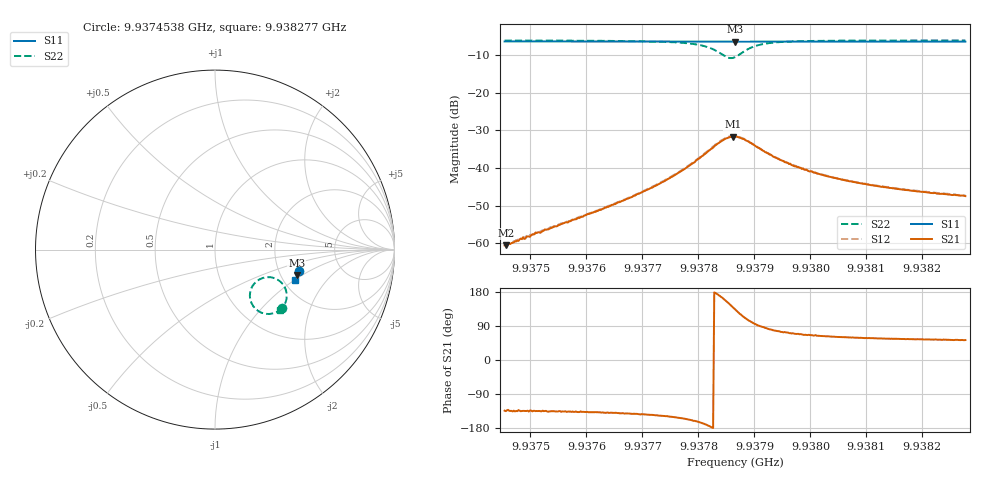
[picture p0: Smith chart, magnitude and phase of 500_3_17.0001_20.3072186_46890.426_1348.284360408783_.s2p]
#  HZ  S  RI  R  50.00
! Rohde & Schwarz Vector Network Analyzer
! Rohde-Schwarz,ZNB20-2Port,1311601062101988,3.16
! Created: UTC 3/20/2024, 11:14:28 PM
! freq[Hz]  re:S11  im:S11  re:S21  im:S21  re:S12  im:S12  re:S22  im:S22
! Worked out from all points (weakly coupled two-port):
!   401 points, 9.9374538 GHz to 9.938277 GHz, reference 50 ohm
!   highest |S21| = -31.64 dB at 9.9378613 GHz (marker M1); lowest = -60.6 dB at 9.9374558 GHz (marker M2)
!   lowest |S11| = -6.4 dB at 9.9378654 GHz (marker M3), VSWR 2.83, Z = 122 - j45.4 ohm
!   |S11| at or under -10 dB: nowhere
!   |S22| runs from -10.8 to -6.1 dB; largest |S21 - S12| = 0.0011
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9.93745378e9  0.4682 -0.1185  -0.000644 -0.000674  -0.000656 -0.000631  0.3738 -0.3271
9.93745584e9  0.4681 -0.1187  -0.000658 -0.00066  -0.000687 -0.000673  0.3737 -0.3273
9.93750935e9  0.4668 -0.1221  -0.00098 -0.000982  -0.000978 -0.000966  0.3686 -0.3317
9.93759168e9  0.465 -0.1279  -0.00164 -0.00152  -0.0017 -0.00151  0.3581 -0.3393
9.93767194e9  0.463 -0.1332  -0.00303 -0.00243  -0.00303 -0.00244  0.3424 -0.3483
9.93772957e9  0.4614 -0.1372  -0.00514 -0.00336  -0.00527 -0.00339  0.3215 -0.3557
9.93777691e9  0.4599 -0.1403  -0.009 -0.0041  -0.00924 -0.004  0.2873 -0.3581
9.93781395e9  0.4584 -0.1429  -0.0156 -0.00265  -0.0161 -0.00224  0.2349 -0.3377
9.93782836e9  0.4573 -0.1434  -0.0194 0.000617  -0.0197 0.000792  0.2093 -0.3089
9.93784277e9  0.4566 -0.1437  -0.0223 0.0062  -0.0226 0.00709  0.1944 -0.2574
9.93785306e9  0.4562 -0.1437  -0.0222 0.0122  -0.0222 0.0133  0.2047 -0.211
9.93786129e9  0.4561 -0.1437  -0.0198 0.0171  -0.0197 0.0179  0.2301 -0.1783
9.93786541e9  0.456 -0.1436  -0.0179 0.0188  -0.0176 0.0199  0.2474 -0.1663
9.9378757e9  0.4565 -0.1437  -0.0126 0.0216  -0.0121 0.0224  0.2943 -0.1536
9.9378901e9  0.4569 -0.1447  -0.00537 0.0217  -0.00495 0.022  0.3484 -0.1674
9.93791274e9  0.4573 -0.1464  0.000548 0.0175  0.00112 0.0175  0.3883 -0.2094
9.93793744e9  0.4569 -0.1483  0.00301 0.0134  0.00337 0.0135  0.3994 -0.2453
9.93795802e9  0.4567 -0.15  0.00352 0.0113  0.00388 0.0112  0.3995 -0.265
9.9380033e9  0.4555 -0.1533  0.00372 0.00811  0.00392 0.00804  0.3938 -0.2918
9.93805887e9  0.4543 -0.1571  0.00342 0.006  0.00358 0.00601  0.3861 -0.3091
9.93814119e9  0.452 -0.1626  0.003 0.00451  0.00314 0.00452  0.3763 -0.3242
9.93827703e9  0.4481 -0.1713  0.00256 0.00335  0.00268 0.00333  0.364 -0.3386
